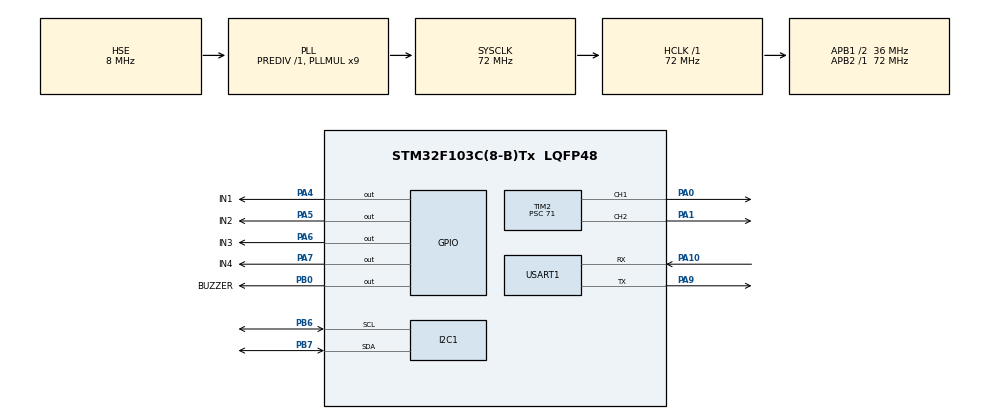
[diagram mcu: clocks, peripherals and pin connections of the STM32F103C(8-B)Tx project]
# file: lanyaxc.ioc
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I2C1.NoStretchMode=I2C_NOSTRETCH_DISABLE
Mcu.Family=STM32F1
Mcu.Name=STM32F103C(8-B)Tx
Mcu.Package=LQFP48
NVIC.PriorityGroup=NVIC_PRIORITYGROUP_4
NVIC.USART1_IRQn=true\:0\:0\:false\:false\:true\:true\:true\:true
PA0-WKUP.Signal=S_TIM2_CH1_ETR
PA1.Signal=S_TIM2_CH2
PA10.Mode=Asynchronous
PA10.Signal=USART1_RX
PA13.Mode=Serial_Wire
PA13.Signal=SYS_JTMS-SWDIO
PA14.Mode=Serial_Wire
PA14.Signal=SYS_JTCK-SWCLK
PA4.GPIO_Label=IN1
PA4.GPIO_Speed=GPIO_SPEED_FREQ_HIGH
PA4.Signal=GPIO_Output
PA5.GPIO_Label=IN2
PA5.GPIO_Speed=GPIO_SPEED_FREQ_HIGH
PA5.Signal=GPIO_Output
PA6.GPIO_Label=IN3
PA6.GPIO_Speed=GPIO_SPEED_FREQ_HIGH
PA6.Signal=GPIO_Output
PA7.GPIO_Label=IN4
PA7.GPIO_Speed=GPIO_SPEED_FREQ_HIGH
PA7.Signal=GPIO_Output
PA9.Mode=Asynchronous
PA9.Signal=USART1_TX
PB0.GPIO_Label=BUZZER
PB0.GPIO_Speed=GPIO_SPEED_FREQ_HIGH
PB0.Signal=GPIO_Output
PB6.Mode=I2C
PB6.Signal=I2C1_SCL
PB7.Mode=I2C
PB7.Signal=I2C1_SDA
PD0-OSC_IN.Mode=HSE-External-Oscillator
PD0-OSC_IN.Signal=RCC_OSC_IN
PD1-OSC_OUT.Mode=HSE-External-Oscillator
PD1-OSC_OUT.Signal=RCC_OSC_OUT
ProjectManager.HeapSize=0x200
ProjectManager.StackSize=0x400
ProjectManager.TargetToolchain=MDK-ARM V5.32
RCC.AHBFreq_Value=72000000
RCC.APB1CLKDivider=RCC_HCLK_DIV2
RCC.APB1Freq_Value=36000000
RCC.APB1TimFreq_Value=72000000
RCC.APB2Freq_Value=72000000
RCC.APB2TimFreq_Value=72000000
RCC.HCLKFreq_Value=72000000
RCC.PLLMUL=RCC_PLL_MUL9
RCC.PLLSourceVirtual=RCC_PLLSOURCE_HSE
RCC.SYSCLKFreq_VALUE=72000000
RCC.SYSCLKSource=RCC_SYSCLKSOURCE_PLLCLK
RCC.USBFreq_Value=72000000
SH.S_TIM2_CH1_ETR.0=TIM2_CH1,PWM Generation1 CH1
SH.S_TIM2_CH2.0=TIM2_CH2,PWM Generation2 CH2
TIM2.Channel-PWM\ Generation1\ CH1=TIM_CHANNEL_1
TIM2.Channel-PWM\ Generation2\ CH2=TIM_CHANNEL_2
TIM2.Period=999
TIM2.Prescaler=71
USART1.VirtualMode=VM_ASYNC
board=custom

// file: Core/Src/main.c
/* USER CODE BEGIN Header */
/**
  ******************************************************************************
  * @file           : main.c
  * @brief          : Main program body
  ******************************************************************************
  */
/* USER CODE END Header */
#include "main.h"
#include "i2c.h"
#include "tim.h"
#include "usart.h"
#include "gpio.h"

/* USER CODE BEGIN Includes */
#include "motor_control.h"
#include "buzzer.h"
#include "bluetooth.h"
#include "oled.h"
/* USER CODE END Includes */

/* USER CODE BEGIN PV */
static uint8_t current_speed = 50;
static uint8_t current_dir = 0;
static uint8_t display_update = 1;
/* USER CODE END PV */

void SystemClock_Config(void);
/* USER CODE BEGIN PFP */
void BT_CommandCallback(uint8_t cmd, uint8_t param);
/* USER CODE END PFP */

int main(void)
{

  /* MCU Configuration--------------------------------------------------------*/

  /* Reset of all peripherals, Initializes the Flash interface and the Systick. */
  HAL_Init();

  /* Configure the system clock */
  SystemClock_Config();

  /* Initialize all configured peripherals */
  MX_GPIO_Init();
  MX_I2C1_Init();
  MX_TIM2_Init();
  MX_USART1_UART_Init();
  /* USER CODE BEGIN 2 */

  Motor_Init();
  Buzzer_Init();
  BT_Init();
  OLED_Init();

  OLED_Clear();
  OLED_ShowString(0, 0, "Hello", FONT_SIZE_8X16);
  OLED_ShowString(0, 4, "World", FONT_SIZE_8X16);

  Buzzer_Success();
  BT_RegisterCallback(BT_CommandCallback);

  /* USER CODE END 2 */

  /* Infinite loop */
  while (1)
  {

    /* USER CODE BEGIN 3 */

    BT_Process();

    /* USER CODE END 3 */
  }
  /* USER CODE END 3 */
}

void SystemClock_Config(void)
{
  RCC_OscInitTypeDef RCC_OscInitStruct = {0};
  RCC_ClkInitTypeDef RCC_ClkInitStruct = {0};

  /** Initializes the RCC Oscillators according to the specified parameters
  * in the RCC_OscInitTypeDef structure.
  */
  RCC_OscInitStruct.OscillatorType = RCC_OSCILLATORTYPE_HSE;
  RCC_OscInitStruct.HSEState = RCC_HSE_ON;
  RCC_OscInitStruct.HSEPredivValue = RCC_HSE_PREDIV_DIV1;
  RCC_OscInitStruct.HSIState = RCC_HSI_ON;
  RCC_OscInitStruct.PLL.PLLState = RCC_PLL_ON;
  RCC_OscInitStruct.PLL.PLLSource = RCC_PLLSOURCE_HSE;
  RCC_OscInitStruct.PLL.PLLMUL = RCC_PLL_MUL9;
  if (HAL_RCC_OscConfig(&RCC_OscInitStruct) != HAL_OK)
  {
    Error_Handler();
  }

  /** Initializes the CPU, AHB and APB buses clocks
  */
  RCC_ClkInitStruct.ClockType = RCC_CLOCKTYPE_HCLK|RCC_CLOCKTYPE_SYSCLK
                              |RCC_CLOCKTYPE_PCLK1|RCC_CLOCKTYPE_PCLK2;
  RCC_ClkInitStruct.SYSCLKSource = RCC_SYSCLKSOURCE_PLLCLK;
  RCC_ClkInitStruct.AHBCLKDivider = RCC_SYSCLK_DIV1;
  RCC_ClkInitStruct.APB1CLKDivider = RCC_HCLK_DIV2;
  RCC_ClkInitStruct.APB2CLKDivider = RCC_HCLK_DIV1;

  if (HAL_RCC_ClockConfig(&RCC_ClkInitStruct, FLASH_LATENCY_2) != HAL_OK)
  {
    Error_Handler();
  }
}

/* USER CODE BEGIN 4 */

/**
  * @brief  BT command callback
  */
void BT_CommandCallback(uint8_t cmd, uint8_t param)
{
    uint8_t speed;
    speed = BT_GetSpeed();
    current_speed = speed * MOTOR_PWM_MAX / 100;

    switch (cmd) {
        case CMD_FORWARD:
            Car_Forward(current_speed);
            current_dir = 1;
            display_update = 1;
            break;
        case CMD_BACKWARD:
            Car_Backward(current_speed);
            current_dir = 2;
            display_update = 1;
            break;
        case CMD_TURN_LEFT:
            Car_TurnLeft(current_speed);
            current_dir = 3;
            display_update = 1;
            break;
        case CMD_TURN_RIGHT:
            Car_TurnRight(current_speed);
            current_dir = 4;
            display_update = 1;
            break;
        case CMD_STOP:
            Car_Stop();
            current_dir = 0;
            display_update = 1;
            Buzzer_Beep(100);
            break;
        case CMD_BEEP:
            if (param == 0) {
                Buzzer_Off();
            } else {
                Buzzer_Beep(200);
            }
            break;
        default:
            break;
    }
}

/* USER CODE END 4 */

void Error_Handler(void)
{
  __disable_irq();
  while (1)
  {
  }
}
